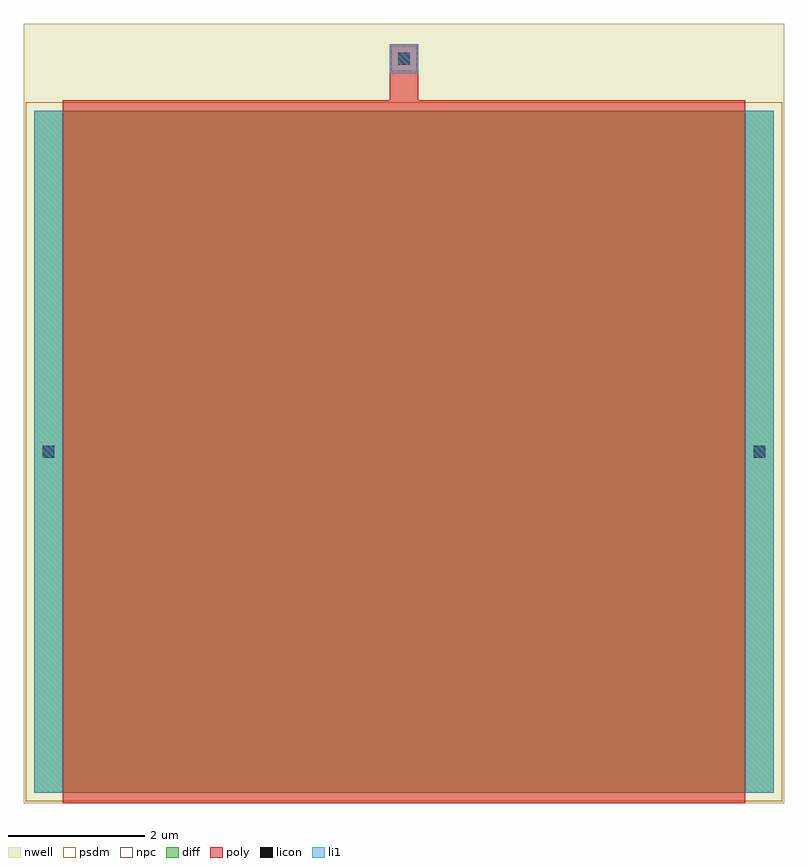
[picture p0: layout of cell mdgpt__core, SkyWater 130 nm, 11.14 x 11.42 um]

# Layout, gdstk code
import gdstk
lib = gdstk.Library(unit=1e-6, precision=1e-09)
def R(c, l, rs):  # rectangles x0, y0, x1, y1
    for r in rs: c.add(gdstk.rectangle(r[:2], r[2:], *l))
nwell = (64, 20)
diff = (65, 20)
poly = (66, 20)
licon = (66, 44)
li1 = (67, 20)
psdm = (94, 20)
npc = (95, 20)

mdgpt__core = lib.new_cell('mdgpt__core')
R(mdgpt__core, nwell, [(-0.15,-0.15,10.99,11.27)])
R(mdgpt__core, diff, [(0,0,10.84,10)])
R(mdgpt__core, poly, [(0.42,-0.15,10.42,10), (0.42,10,10.42,10.15), (0.42,10,10.42,10.15), (5.21,10.15,5.63,10.97)])
R(mdgpt__core, licon, [(0.125,4.915,0.295,5.085), (10.545,4.915,10.715,5.085), (5.335,10.675,5.505,10.845)])
R(mdgpt__core, li1, [(0,0,0.42,10), (10.42,0,10.84,10), (5.21,10.55,5.63,10.97)])
R(mdgpt__core, psdm, [(-0.125,-0.125,10.965,10.125)])
R(mdgpt__core, npc, [(5.235,10.575,5.605,10.945)])

lib.write_gds('mdgpt__core.gds')
